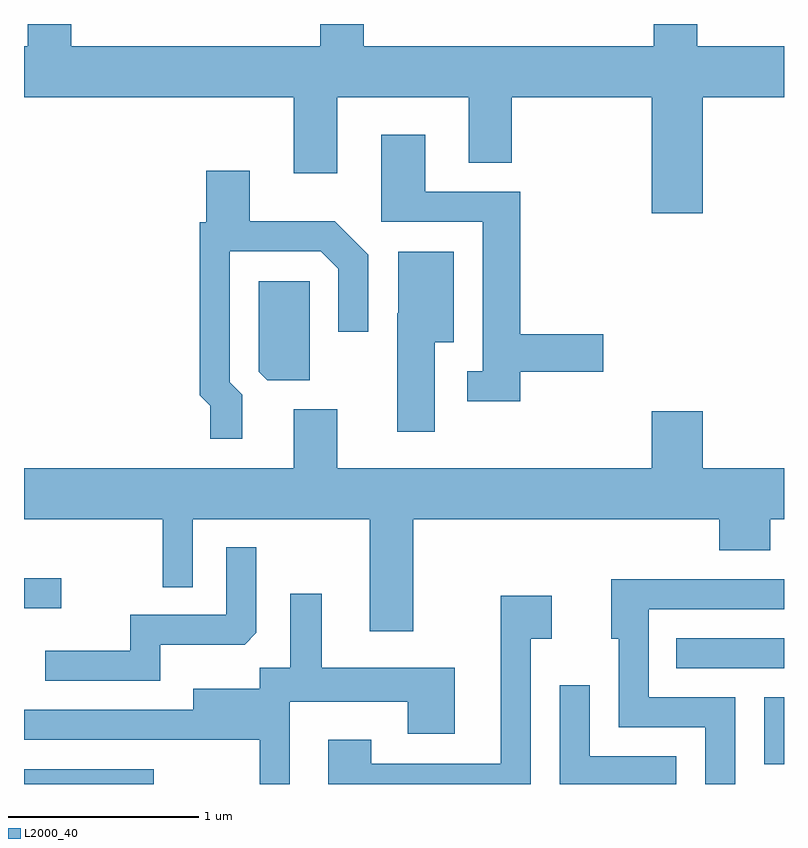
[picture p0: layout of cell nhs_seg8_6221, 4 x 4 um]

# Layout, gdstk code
import gdstk
lib = gdstk.Library(unit=1e-6, precision=1e-09)
def R(c, l, rs):  # rectangles x0, y0, x1, y1
    for r in rs: c.add(gdstk.rectangle(r[:2], r[2:], *l))
def P(c, l, *ps):  # polygons
    for p in ps: c.add(gdstk.Polygon(p, *l))
L2000_40 = (2000, 40)

nhs_seg8_6221 = lib.new_cell('nhs_seg8_6221')
R(nhs_seg8_6221, L2000_40, [(371.611,1848.342,372.294,1848.419), (375.506,1848.446,375.611,1848.799), (375.043,1848.951,375.611,1849.109), (371.611,1849.266,371.808,1849.424)])
P(nhs_seg8_6221, L2000_40, [(375.184,1851.956),(375.611,1851.956),(375.611,1852.224),(375.154,1852.224),(375.154,1852.342),(374.926,1852.342),(374.926,1852.224),(373.399,1852.224),(373.399,1852.342),(373.171,1852.342),(373.171,1852.224),(371.859,1852.224),(371.859,1852.342),(371.631,1852.342),(371.631,1852.224),(371.611,1852.224),(371.611,1851.956),(373.031,1851.956),(373.031,1851.556),(373.259,1851.556),(373.259,1851.956),(373.951,1851.956),(373.951,1851.611),(374.179,1851.611),(374.179,1851.956),(374.916,1851.956),(374.916,1851.346),(375.184,1851.346)],
  [(374.224,1850.511),(374.659,1850.511),(374.659,1850.709),(374.224,1850.709),(374.224,1851.459),(373.724,1851.459),(373.724,1851.759),(373.491,1851.759),(373.491,1851.301),(374.026,1851.301),(374.026,1850.514),(373.943,1850.514),(373.943,1850.356),(374.224,1850.356)],
  [(372.759,1850.392),(372.694,1850.457),(372.694,1851.146),(373.174,1851.146),(373.266,1851.054),(373.266,1850.723),(373.424,1850.723),(373.424,1851.127),(373.247,1851.304),(372.799,1851.304),(372.799,1851.569),(372.571,1851.569),(372.571,1851.299),(372.536,1851.299),(372.536,1850.389),(372.591,1850.334),(372.591,1850.158),(372.759,1850.158)],
  [(373.774,1850.666),(373.874,1850.666),(373.874,1851.144),(373.581,1851.144),(373.581,1850.82),(373.576,1850.82),(373.576,1850.196),(373.774,1850.196)],
  [(373.114,1850.989),(372.846,1850.989),(372.846,1850.512),(372.892,1850.466),(373.114,1850.466)],
  [(373.659,1849.736),(375.271,1849.736),(375.271,1849.571),(375.539,1849.571),(375.539,1849.736),(375.611,1849.736),(375.611,1850.004),(375.184,1850.004),(375.184,1850.304),(374.916,1850.304),(374.916,1850.004),(373.259,1850.004),(373.259,1850.314),(373.031,1850.314),(373.031,1850.004),(371.611,1850.004),(371.611,1849.736),(372.341,1849.736),(372.341,1849.378),(372.499,1849.378),(372.499,1849.736),(373.431,1849.736),(373.431,1849.146),(373.659,1849.146)],
  [(372.329,1849.076),(372.774,1849.076),(372.834,1849.137),(372.834,1849.588),(372.676,1849.588),(372.676,1849.234),(372.171,1849.234),(372.171,1849.044),(371.723,1849.044),(371.723,1848.886),(372.329,1848.886)],
  [(375.354,1848.799),(374.899,1848.799),(374.899,1849.261),(375.611,1849.261),(375.611,1849.419),(374.701,1849.419),(374.701,1849.106),(374.741,1849.106),(374.741,1848.641),(375.196,1848.641),(375.196,1848.342),(375.354,1848.342)],
  [(373.009,1848.776),(373.631,1848.776),(373.631,1848.606),(373.879,1848.606),(373.879,1848.954),(373.179,1848.954),(373.179,1849.343),(373.011,1849.343),(373.011,1848.954),(372.851,1848.954),(372.851,1848.844),(372.501,1848.844),(372.501,1848.734),(371.611,1848.734),(371.611,1848.576),(372.851,1848.576),(372.851,1848.342),(373.009,1848.342)],
  [(374.279,1849.106),(374.389,1849.106),(374.389,1849.334),(374.121,1849.334),(374.121,1848.449),(373.439,1848.449),(373.439,1848.574),(373.211,1848.574),(373.211,1848.342),(374.279,1848.342)],
  [(375.044,1848.489),(374.589,1848.489),(374.589,1848.863),(374.431,1848.863),(374.431,1848.342),(375.044,1848.342)])

lib.write_gds('nhs_seg8_6221.gds')
